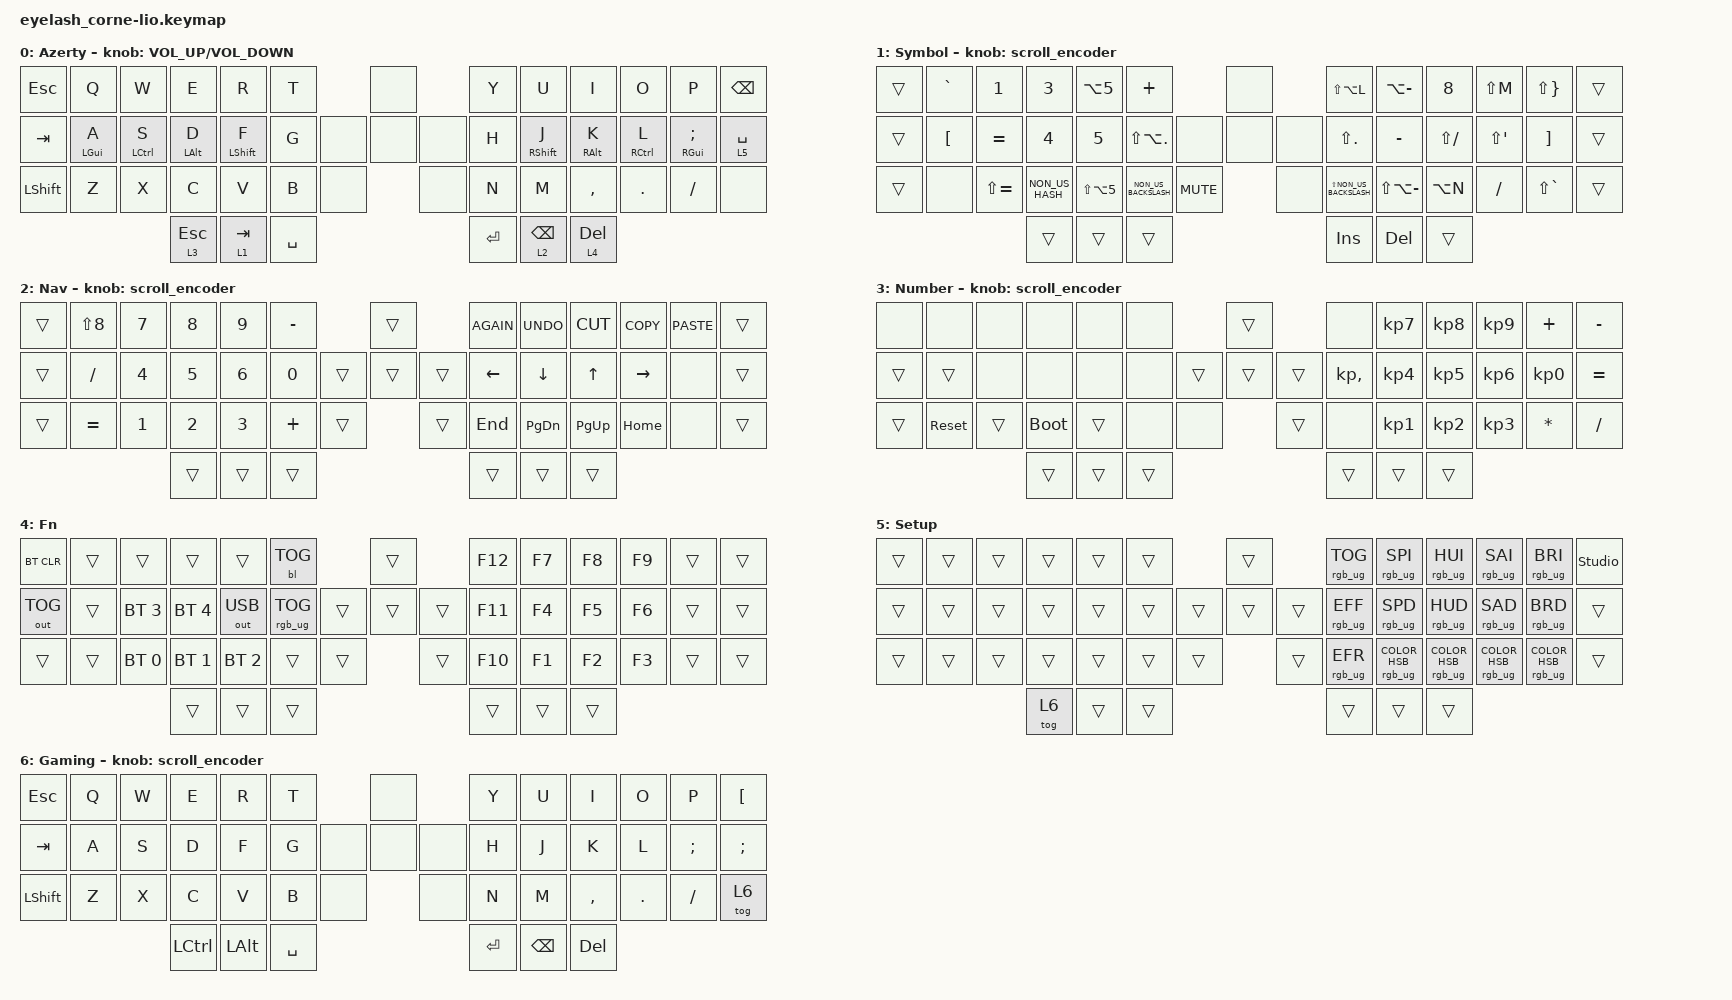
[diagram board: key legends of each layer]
#define ZMK_POINTING_DEFAULT_MOVE_VAL 1200  // 600
#define ZMK_POINTING_DEFAULT_SCRL_VAL 25   // 10

#include <input/processors.dtsi>
#include <zephyr/dt-bindings/input/input-event-codes.h>
#include <behaviors.dtsi>
#include <dt-bindings/zmk/backlight.h>
#include <dt-bindings/zmk/bt.h>
#include <dt-bindings/zmk/keys.h>
#include <dt-bindings/zmk/outputs.h>
#include <dt-bindings/zmk/pointing.h>
#include <dt-bindings/zmk/rgb.h>

&msc {
    acceleration-exponent = <1>;      // 0
    time-to-max-speed-ms = <100>;       // 300
    delay-ms = <0>;                   // 0
};

&mmv {
    time-to-max-speed-ms = <500>;
    acceleration-exponent = <1>;
    trigger-period-ms = <16>;
};

&soft_off { hold-time-ms = <2000>; };

&mt {
    flavor = "tap-preferred";
    quick-tap-ms = <150>;
};

&lt { quick-tap-ms = <150>; };

/ {
    behaviors {
        // Base-layer thumb: tap = SPACE, hold = HYPER
        // "balanced" so Hyper+<key> chords resolve at normal typing speed,
        // while a plain quick tap still produces SPACE.
        spc_hyper: space_hyper {
            compatible = "zmk,behavior-hold-tap";
            #binding-cells = <2>;
            flavor = "balanced";
            tapping-term-ms = <200>;
            quick-tap-ms = <150>;
            bindings = <&kp>, <&kp>;
            display-name = "Space/Hyper";
        };

        // Backspace thumb: tap = BACKSPACE, hold = layer 3.
        // quick-tap-ms means a second press within 200ms of the first always
        // resolves as a tap, so tap-then-tap-and-hold holds BACKSPACE down and
        // the OS key-repeat erases continuously.
        bspc_lt: backspace_layer_tap {
            compatible = "zmk,behavior-hold-tap";
            #binding-cells = <2>;
            flavor = "tap-preferred";
            tapping-term-ms = <200>;
            quick-tap-ms = <200>;
            bindings = <&mo>, <&kp>;
            display-name = "Bspc/Layer";
        };
        td0: td0 {
            compatible = "zmk,behavior-tap-dance";
            display-name = "Shift/Caps Lock Tap Dance";
            #binding-cells = <0>;
            bindings = <&kp LEFT_SHIFT>, <&kp CAPS>;
        };
    };

    rgb_encoder: rgb_encoder {
        compatible = "zmk,behavior-sensor-rotate";
        #sensor-binding-cells = <0>;
        bindings = <&rgb_ug RGB_BRI>, <&rgb_ug RGB_BRD>;
    };

    scroll_encoder: scroll_encoder {
        compatible = "zmk,behavior-sensor-rotate";
        #sensor-binding-cells = <0>;
        bindings = <&msc SCRL_DOWN>, <&msc SCRL_UP>;

        tap-ms = <100>;
    };

    // French accent combos for AZERTY compatibility on macOS

    combos {
        compatible = "zmk,combos";

        ecute {
            bindings = <&kp NUMBER_2>;
            key-positions = <3 2>;
        };

        egrave {
            bindings = <&kp NUMBER_7>;
            key-positions = <3 4>;
        };

        ugrave {
            bindings = <&kp SINGLE_QUOTE>;
            key-positions = <7 8>;
        };

        agrave {
            bindings = <&kp NUMBER_0>;
            key-positions = <1 2>;
        };
    };

    keymap {
        compatible = "zmk,keymap";

        default_layer {
            display-name = "Azerty";
            bindings = <
&kp ESCAPE      &kp Q           &kp W               &kp E           &kp R             &kp T                      &none         &kp Y      &kp U              &kp I            &kp O                &kp P               &kp BSPC
&kp TAB         &mt LEFT_GUI A  &mt LEFT_CONTROL S  &mt LEFT_ALT D  &mt LEFT_SHIFT F  &kp G               &none  &none  &none  &kp H      &mt RIGHT_SHIFT J  &mt RIGHT_ALT K  &mt RIGHT_CONTROL L  &mt RIGHT_GUI SEMI  &lt 5 SPACE
&kp LEFT_SHIFT  &kp Z           &kp X               &kp C           &kp V             &kp B      &none           &none         &kp N      &kp M              &kp COMMA        &kp DOT              &kp FSLH            &none
                                                    &lt 3 ESCAPE    &lt 1 TAB         &kp SPACE                                &kp ENTER  &bspc_lt 2 BSPC    &lt 4 DELETE
            >;

            sensor-bindings = <&inc_dec_kp C_VOLUME_UP C_VOLUME_DOWN>;
        };

        Symbol {
            display-name = "Symbol";
            bindings = <
&trans  &kp GRAVE             &kp NUMBER_1   &kp N3           &kp LA(N5)      &kp PLUS                                 &none         &kp LS(LA(L))   &kp LA(MINUS)      &kp N8                 &kp LS(M)     &kp LS(RIGHT_BRACE)  &trans
&trans  &kp LEFT_BRACKET      &kp EQUAL      &kp NUMBER_4     &kp N5          &kp LS(LA(PERIOD))                &none  &none  &none  &kp LS(PERIOD)  &kp MINUS          &kp LS(SLASH)          &kp LS(APOS)  &kp RIGHT_BRACKET    &trans
&trans  &none                 &kp LS(EQUAL)  &kp NON_US_HASH  &kp LS(LA(N5))  &kp NON_US_BACKSLASH           &kp C_MUTE           &none         &kp LS(NON_US_BACKSLASH)   &kp LS(LA(MINUS))  &kp LA(N)  &kp SLASH     &kp LS(GRAVE)                &trans
                                             &trans           &trans          &trans                                                 &kp INS         &kp DEL            &trans
            >;

            sensor-bindings = <&scroll_encoder>;
        };

        Nav {
            display-name = "Nav";
            bindings = <
&trans  &kp LS(N8)  &kp NUMBER_7  &kp N8        &kp NUMBER_9  &kp MINUS                       &trans          &kp K_AGAIN  &kp K_UNDO     &kp K_CUT    &kp K_COPY  &kp K_PASTE  &trans
&trans  &kp SLASH   &kp NUMBER_4  &kp N5        &kp NUMBER_6  &kp NUMBER_0            &trans  &trans  &trans  &kp LEFT     &kp DOWN       &kp UP       &kp RIGHT   &none        &trans
&trans  &kp EQUAL   &kp NUMBER_1  &kp NUMBER_2  &kp NUMBER_3  &kp PLUS      &trans            &trans          &kp END      &kp PAGE_DOWN  &kp PAGE_UP  &kp HOME    &none        &trans
                                  &trans        &trans        &trans                                          &trans       &trans         &trans
            >;

            sensor-bindings = <&scroll_encoder>;
        };

        Number {
            display-name = "Number";
            bindings = <
&none   &none       &none   &none        &none   &none                    &trans          &none         &kp KP_NUMBER_7  &kp KP_NUMBER_8  &kp KP_NUMBER_9  &kp PLUS         &kp MINUS
&trans  &trans      &none   &none        &none   &none            &trans  &trans  &trans  &kp KP_COMMA  &kp KP_NUMBER_4  &kp KP_NUMBER_5  &kp KP_N6        &kp KP_NUMBER_0  &kp EQUAL
&trans  &sys_reset  &trans  &bootloader  &trans  &none   &none            &trans          &none         &kp KP_NUMBER_1  &kp KP_N2        &kp KP_NUMBER_3  &kp ASTERISK     &kp SLASH
                            &trans       &trans  &trans                                   &trans        &trans           &trans
            >;

            sensor-bindings = <&scroll_encoder>;
        };

        Fn {
            bindings = <
&bt BT_CLR    &trans  &trans        &trans        &trans        &bl BL_TOG                         &trans          &kp F12  &kp F7  &kp F8  &kp F9  &trans  &trans
&out OUT_TOG  &trans  &bt BT_SEL 3  &bt BT_SEL 4  &out OUT_USB         &rgb_ug RGB_TOG            &trans  &trans  &trans  &kp F11  &kp F4  &kp F5  &kp F6  &trans  &trans
&trans        &trans  &bt BT_SEL 0  &bt BT_SEL 1  &bt BT_SEL 2  &trans           &trans            &trans          &kp F10  &kp F1  &kp F2  &kp F3  &trans  &trans
                                    &trans        &trans        &trans                                             &trans   &trans  &trans
            >;

            label = "Fn";
        };

        Setup {
            bindings = <
&trans  &trans  &trans  &trans  &trans  &trans                    &trans          &rgb_ug RGB_TOG  &rgb_ug RGB_SPI                   &rgb_ug RGB_HUI                 &rgb_ug RGB_SAI                 &rgb_ug RGB_BRI                 &studio_unlock
&trans  &trans  &trans  &trans  &trans  &trans            &trans  &trans  &trans  &rgb_ug RGB_EFF  &rgb_ug RGB_SPD                   &rgb_ug RGB_HUD                 &rgb_ug RGB_SAD                 &rgb_ug RGB_BRD                 &trans
&trans  &trans  &trans  &trans  &trans  &trans  &trans            &trans          &rgb_ug RGB_EFR  &rgb_ug RGB_COLOR_HSB(188,68,37)  &rgb_ug RGB_COLOR_HSB(68,4,52)  &rgb_ug RGB_COLOR_HSB(0,32,93)  &rgb_ug RGB_COLOR_HSB(0,75,35)  &trans
                        &tog 6  &trans  &trans                                    &trans           &trans                            &trans
            >;

            label = "Setup";
        };

        Gaming {
            label = "Gaming";
            bindings = <
&kp ESCAPE      &kp Q           &kp W               &kp E           &kp R             &kp T                      &none         &kp Y      &kp U              &kp I            &kp O                &kp P               &kp LEFT_BRACKET
&kp TAB         &kp A           &kp S               &kp D             &kp F             &kp G               &none  &none  &none  &kp H      &kp J  &kp K  &kp L  &kp SEMI  &kp SEMI
&kp LEFT_SHIFT  &kp Z           &kp X               &kp C             &kp V             &kp B      &none           &none         &kp N      &kp M              &kp COMMA        &kp DOT              &kp FSLH            &tog 6
                                                    &kp LEFT_CONTROL          &kp LEFT_ALT         &kp SPACE                                &kp ENTER  &kp BSPC    &kp DELETE
            >;

            sensor-bindings = <&scroll_encoder>;
        };
    };
};
